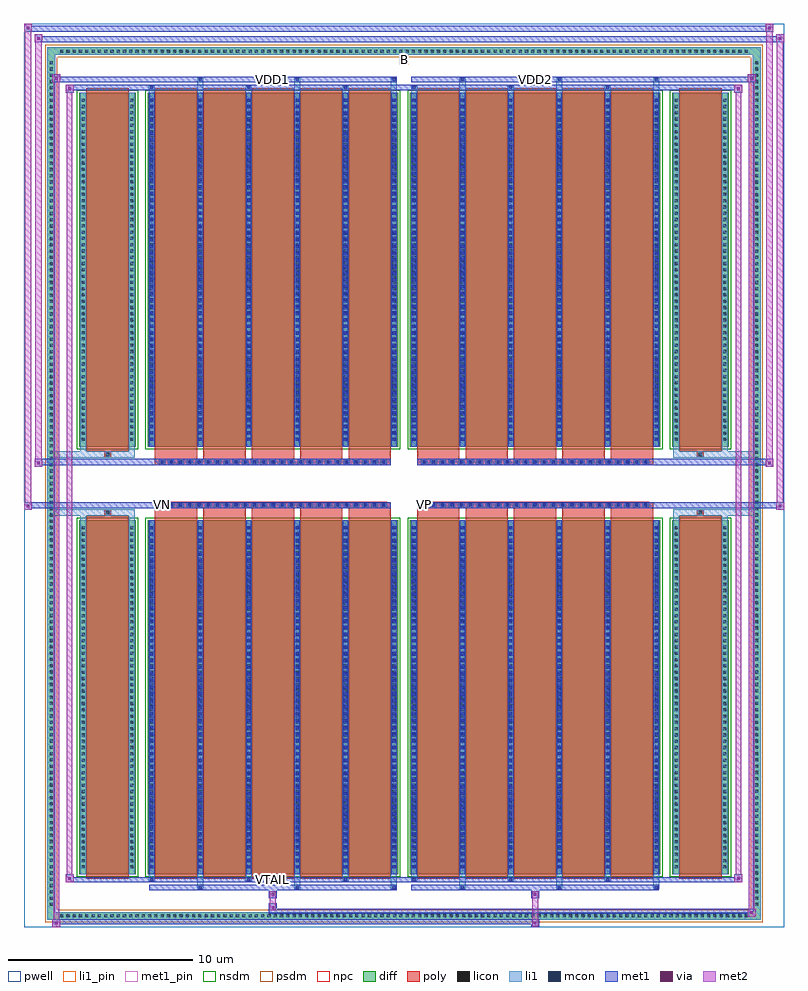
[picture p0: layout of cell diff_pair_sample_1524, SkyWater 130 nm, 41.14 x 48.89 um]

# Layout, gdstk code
import gdstk
lib = gdstk.Library(unit=1e-6, precision=5e-09)
def R(c, l, rs):  # rectangles x0, y0, x1, y1
    for r in rs: c.add(gdstk.rectangle(r[:2], r[2:], *l))
def A(c, l, x, y, w, h, nx, ny, dx, dy):  # array of equal rectangles
    R(c, l, [(x+i*dx, y+j*dy, x+i*dx+w, y+j*dy+h) for i in range(nx) for j in range(ny)])
def P(c, l, *ps):  # polygons
    for p in ps: c.add(gdstk.Polygon(p, *l))
pwell = (64, 44)
diff = (65, 20)
poly = (66, 20)
licon = (66, 44)
li1_pin = (67, 16)
li1 = (67, 20)
mcon = (67, 44)
met1_pin = (68, 16)
met1 = (68, 20)
via = (68, 44)
met2 = (69, 20)
nsdm = (93, 44)
psdm = (94, 20)
npc = (95, 20)

diff_pair_sample_1524 = lib.new_cell('diff_pair_sample_1524')
R(diff_pair_sample_1524, pwell, [(-20.57,-24.01,20.57,24.88), (-17.89,-22.2,-0.01,-0.8), (0.01,-22.2,17.89,-0.8), (-17.89,0.8,-0.01,22.2), (0.01,0.8,17.89,22.2)])
A(diff_pair_sample_1524, diff, -18.735, -23.61, 0.41, 0.41, 110, 2, 0.34, 46.81)
A(diff_pair_sample_1524, diff, -19.3, -22.985, 0.41, 0.41, 1, 135, 0, 0.34)
A(diff_pair_sample_1524, diff, 18.89, -22.985, 0.41, 0.41, 1, 135, 0, 0.34)
R(diff_pair_sample_1524, diff, [(-18.735,-23.61,18.735,-23.2), (-19.3,-22.985,-18.89,22.985), (18.89,-22.985,19.3,22.985), (-17.58,-21.155,-14.51,-1.985), (-13.87,-21.155,-0.32,-1.985), (0.32,-21.155,13.87,-1.985), (14.51,-21.155,17.58,-1.985), (-17.58,1.985,-14.51,21.155), (-13.87,1.985,-0.32,21.155), (0.32,1.985,13.87,21.155), (14.51,1.985,17.58,21.155), (-18.735,23.2,18.735,23.61)])
P(diff_pair_sample_1524, diff, [(19.3,23.61),(-19.3,23.61),(-19.3,-23.2),(-18.89,-23.2),(-18.89,23.2),(18.89,23.2),(18.89,-23.2),(-18.89,-23.2),(-19.3,-23.2),(-19.3,-23.61),(19.3,-23.61)])
A(diff_pair_sample_1524, poly, -13.48, -21.405, 2.29, 19.67, 5, 2, 2.62, 23.14)
A(diff_pair_sample_1524, poly, 0.71, -21.405, 2.29, 19.67, 5, 2, 2.62, 23.14)
A(diff_pair_sample_1524, poly, -13.48, -1.735, 2.29, 0.405, 5, 2, 2.62, 3.065)
A(diff_pair_sample_1524, poly, 0.71, -1.735, 2.29, 0.405, 5, 2, 2.62, 3.065)
A(diff_pair_sample_1524, poly, -13.26, -1.33, 0.33, 0.33, 25, 2, 0.5, 2.33)
A(diff_pair_sample_1524, poly, 0.93, -1.33, 0.33, 0.33, 25, 2, 0.5, 2.33)
R(diff_pair_sample_1524, poly, [(-17.19,-21.405,-14.9,-1.735), (14.9,-21.405,17.19,-1.735), (-16.21,-1.735,-15.88,-1.405), (-16.21,-1.735,-15.88,-1.405), (15.88,-1.735,16.21,-1.405), (15.88,-1.735,16.21,-1.405), (-13.48,-1.33,-0.71,-1), (0.71,-1.33,13.48,-1), (-13.48,1,-0.71,1.33), (0.71,1,13.48,1.33), (-16.21,1.405,-15.88,1.735), (-16.21,1.405,-15.88,1.735), (15.88,1.405,16.21,1.735), (15.88,1.405,16.21,1.735), (-17.19,1.735,-14.9,21.405), (14.9,1.735,17.19,21.405)])
A(diff_pair_sample_1524, licon, -18.615, -23.49, 0.17, 0.17, 110, 2, 0.34, 46.81)
A(diff_pair_sample_1524, licon, -19.18, -22.865, 0.17, 0.17, 1, 135, 0, 0.34)
A(diff_pair_sample_1524, licon, 19.01, -22.865, 0.17, 0.17, 1, 135, 0, 0.34)
A(diff_pair_sample_1524, licon, -17.44, -20.835, 0.17, 0.17, 1, 55, 0, 0.34)
A(diff_pair_sample_1524, licon, -14.82, -20.835, 0.17, 0.17, 1, 55, 0, 0.34)
A(diff_pair_sample_1524, licon, -13.73, -20.835, 0.17, 0.17, 6, 55, 2.62, 0.34)
A(diff_pair_sample_1524, licon, 0.46, -20.835, 0.17, 0.17, 6, 55, 2.62, 0.34)
A(diff_pair_sample_1524, licon, 14.65, -20.835, 0.17, 0.17, 1, 55, 0, 0.34)
A(diff_pair_sample_1524, licon, 17.27, -20.835, 0.17, 0.17, 1, 55, 0, 0.34)
A(diff_pair_sample_1524, licon, -13.18, -1.25, 0.17, 0.17, 25, 2, 0.5, 2.33)
A(diff_pair_sample_1524, licon, 1.01, -1.25, 0.17, 0.17, 25, 2, 0.5, 2.33)
A(diff_pair_sample_1524, licon, -17.44, 2.305, 0.17, 0.17, 1, 55, 0, 0.34)
A(diff_pair_sample_1524, licon, -14.82, 2.305, 0.17, 0.17, 1, 55, 0, 0.34)
A(diff_pair_sample_1524, licon, -13.73, 2.305, 0.17, 0.17, 6, 55, 2.62, 0.34)
A(diff_pair_sample_1524, licon, 0.46, 2.305, 0.17, 0.17, 6, 55, 2.62, 0.34)
A(diff_pair_sample_1524, licon, 14.65, 2.305, 0.17, 0.17, 1, 55, 0, 0.34)
A(diff_pair_sample_1524, licon, 17.27, 2.305, 0.17, 0.17, 1, 55, 0, 0.34)
R(diff_pair_sample_1524, licon, [(-16.13,-1.655,-15.96,-1.485), (15.96,-1.655,16.13,-1.485), (-16.13,1.485,-15.96,1.655), (15.96,1.485,16.13,1.655)])
R(diff_pair_sample_1524, li1_pin, [(-0.25,22.7,0.25,23.2)])
A(diff_pair_sample_1524, li1, -18.695, -23.57, 0.33, 0.33, 110, 2, 0.34, 46.81)
A(diff_pair_sample_1524, li1, -19.26, -22.945, 0.33, 0.33, 1, 135, 0, 0.34)
A(diff_pair_sample_1524, li1, 18.93, -22.945, 0.33, 0.33, 1, 135, 0, 0.34)
A(diff_pair_sample_1524, li1, -11.19, -21.96, 0.33, 0.805, 3, 2, 5.24, 43.115)
A(diff_pair_sample_1524, li1, -11.11, -21.96, 0.17, 0.17, 3, 2, 5.24, 43.75)
A(diff_pair_sample_1524, li1, 3, -21.96, 0.33, 0.805, 3, 2, 5.24, 43.115)
A(diff_pair_sample_1524, li1, 3.08, -21.96, 0.17, 0.17, 3, 2, 5.24, 43.75)
A(diff_pair_sample_1524, li1, -13.81, -21.53, 0.33, 0.375, 3, 2, 5.24, 42.685)
A(diff_pair_sample_1524, li1, -13.73, -21.53, 0.17, 0.17, 3, 2, 5.24, 42.89)
A(diff_pair_sample_1524, li1, 0.38, -21.53, 0.33, 0.375, 3, 2, 5.24, 42.685)
A(diff_pair_sample_1524, li1, 0.46, -21.53, 0.17, 0.17, 3, 2, 5.24, 42.89)
A(diff_pair_sample_1524, li1, -13.81, -21.155, 0.33, 19.17, 6, 2, 2.62, 23.14)
A(diff_pair_sample_1524, li1, 0.38, -21.155, 0.33, 19.17, 6, 2, 2.62, 23.14)
A(diff_pair_sample_1524, li1, -17.52, -20.915, 0.33, 0.33, 1, 55, 0, 0.34)
A(diff_pair_sample_1524, li1, -14.9, -20.915, 0.33, 0.33, 1, 55, 0, 0.34)
A(diff_pair_sample_1524, li1, -13.81, -20.915, 0.33, 0.33, 6, 55, 2.62, 0.34)
A(diff_pair_sample_1524, li1, 0.38, -20.915, 0.33, 0.33, 6, 55, 2.62, 0.34)
A(diff_pair_sample_1524, li1, 14.57, -20.915, 0.33, 0.33, 1, 55, 0, 0.34)
A(diff_pair_sample_1524, li1, 17.19, -20.915, 0.33, 0.33, 1, 55, 0, 0.34)
A(diff_pair_sample_1524, li1, -13.73, -20.835, 0.17, 0.17, 6, 52, 2.62, 0.36)
A(diff_pair_sample_1524, li1, -13.73, -20.835, 0.17, 18.53, 6, 2, 2.62, 23.14)
A(diff_pair_sample_1524, li1, 0.46, -20.835, 0.17, 0.17, 6, 52, 2.62, 0.36)
A(diff_pair_sample_1524, li1, 0.46, -20.835, 0.17, 18.53, 6, 2, 2.62, 23.14)
A(diff_pair_sample_1524, li1, -13.26, -1.33, 0.33, 0.33, 25, 2, 0.5, 2.33)
A(diff_pair_sample_1524, li1, 0.93, -1.33, 0.33, 0.33, 25, 2, 0.5, 2.33)
A(diff_pair_sample_1524, li1, -17.52, 2.225, 0.33, 0.33, 1, 55, 0, 0.34)
A(diff_pair_sample_1524, li1, -14.9, 2.225, 0.33, 0.33, 1, 55, 0, 0.34)
A(diff_pair_sample_1524, li1, -13.81, 2.225, 0.33, 0.33, 6, 55, 2.62, 0.34)
A(diff_pair_sample_1524, li1, 0.38, 2.225, 0.33, 0.33, 6, 55, 2.62, 0.34)
A(diff_pair_sample_1524, li1, 14.57, 2.225, 0.33, 0.33, 1, 55, 0, 0.34)
A(diff_pair_sample_1524, li1, 17.19, 2.225, 0.33, 0.33, 1, 55, 0, 0.34)
A(diff_pair_sample_1524, li1, -13.73, 2.305, 0.17, 0.17, 6, 52, 2.62, 0.36)
A(diff_pair_sample_1524, li1, 0.46, 2.305, 0.17, 0.17, 6, 52, 2.62, 0.36)
R(diff_pair_sample_1524, li1, [(-19.3,-23.61,-18.89,-23.2), (-19.3,-23.61,-18.89,-23.2), (-18.89,-23.61,18.89,-23.2), (18.89,-23.61,19.3,-23.2), (18.89,-23.61,19.3,-23.2), (-19.3,-23.2,-18.89,23.2), (18.89,-23.2,19.3,23.2), (-17.52,-21.155,-17.19,-1.985), (-14.9,-21.155,-14.57,-1.985), (14.57,-21.155,14.9,-1.985), (17.19,-21.155,17.52,-1.985), (-17.52,-1.985,-17.19,-1.405), (-14.9,-1.985,-14.57,-1.405), (14.57,-1.985,14.9,-1.405), (17.19,-1.985,17.52,-1.405), (-19.3,-1.735,-16.21,-1.405), (-17.52,-1.735,-16.21,-1.405), (-16.21,-1.735,-15.88,-1.405), (-15.88,-1.735,-14.57,-1.405), (14.57,-1.735,15.88,-1.405), (15.88,-1.735,16.21,-1.405), (15.88,-1.735,19.3,-1.405), (16.21,-1.735,17.52,-1.405), (-19.3,1.405,-16.21,1.735), (-17.52,1.405,-16.21,1.735), (-17.52,1.405,-17.19,1.985), (-16.21,1.405,-15.88,1.735), (-15.88,1.405,-14.57,1.735), (-14.9,1.405,-14.57,1.985), (14.57,1.405,15.88,1.735), (14.57,1.405,14.9,1.985), (15.88,1.405,16.21,1.735), (15.88,1.405,19.3,1.735), (16.21,1.405,17.52,1.735), (17.19,1.405,17.52,1.985), (-17.52,1.985,-17.19,21.155), (-14.9,1.985,-14.57,21.155), (14.57,1.985,14.9,21.155), (17.19,1.985,17.52,21.155), (-19.3,23.2,-18.89,23.61), (-19.3,23.2,-18.89,23.61), (-18.89,23.2,18.89,23.61), (18.89,23.2,19.3,23.61), (18.89,23.2,19.3,23.61)])
A(diff_pair_sample_1524, mcon, -11.11, -21.96, 0.17, 0.17, 3, 2, 5.24, 43.75)
A(diff_pair_sample_1524, mcon, 3.08, -21.96, 0.17, 0.17, 3, 2, 5.24, 43.75)
A(diff_pair_sample_1524, mcon, -13.73, -21.53, 0.17, 0.17, 3, 2, 5.24, 42.89)
A(diff_pair_sample_1524, mcon, 0.46, -21.53, 0.17, 0.17, 3, 2, 5.24, 42.89)
A(diff_pair_sample_1524, mcon, -13.73, -20.835, 0.17, 0.17, 6, 52, 2.62, 0.36)
A(diff_pair_sample_1524, mcon, 0.46, -20.835, 0.17, 0.17, 6, 52, 2.62, 0.36)
A(diff_pair_sample_1524, mcon, -13.18, -1.25, 0.17, 0.17, 25, 2, 0.5, 2.33)
A(diff_pair_sample_1524, mcon, 1.01, -1.25, 0.17, 0.17, 25, 2, 0.5, 2.33)
A(diff_pair_sample_1524, mcon, -13.73, 2.305, 0.17, 0.17, 6, 52, 2.62, 0.36)
A(diff_pair_sample_1524, mcon, 0.46, 2.305, 0.17, 0.17, 6, 52, 2.62, 0.36)
R(diff_pair_sample_1524, met1_pin, [(-7.23,-21.57,-6.96,-21.3), (-13.23,-1.29,-12.96,-1.02), (0.96,-1.29,1.23,-1.02), (-7.23,21.75,-6.96,22.02), (6.96,21.75,7.23,22.02)])
A(diff_pair_sample_1524, met1, -11.17, -22.02, 0.29, 0.29, 3, 2, 5.24, 43.75)
A(diff_pair_sample_1524, met1, 3.02, -22.02, 0.29, 0.29, 3, 2, 5.24, 43.75)
A(diff_pair_sample_1524, met1, -13.79, -21.59, 0.29, 0.29, 3, 2, 5.24, 42.89)
A(diff_pair_sample_1524, met1, 0.4, -21.59, 0.29, 0.29, 3, 2, 5.24, 42.89)
A(diff_pair_sample_1524, met1, -13.79, -21.155, 0.29, 19.17, 6, 2, 2.62, 23.14)
A(diff_pair_sample_1524, met1, 0.4, -21.155, 0.29, 19.17, 6, 2, 2.62, 23.14)
A(diff_pair_sample_1524, met1, -13.79, -20.895, 0.29, 0.29, 6, 52, 2.62, 0.36)
A(diff_pair_sample_1524, met1, 0.4, -20.895, 0.29, 0.29, 6, 52, 2.62, 0.36)
A(diff_pair_sample_1524, met1, -13.24, -1.31, 0.29, 0.29, 25, 2, 0.5, 2.33)
A(diff_pair_sample_1524, met1, 0.95, -1.31, 0.29, 0.29, 25, 2, 0.5, 2.33)
A(diff_pair_sample_1524, met1, -13.79, 2.245, 0.29, 0.29, 6, 52, 2.62, 0.36)
A(diff_pair_sample_1524, met1, 0.4, 2.245, 0.29, 0.29, 6, 52, 2.62, 0.36)
R(diff_pair_sample_1524, met1, [(-19.03,-24.01,-18.6,-23.58), (6.88,-24.01,7.31,-23.58), (-19.03,-23.87,7.31,-23.58), (18.6,-23.44,19.03,-23.01), (-7.31,-23.3,19.03,-23.01), (-7.31,-23.16,-6.88,-22.73), (-7.31,-22.45,-6.88,-22.02), (6.88,-22.45,7.31,-22.02), (-13.79,-22.02,-0.4,-21.73), (0.4,-22.02,13.79,-21.73), (-18.32,-21.59,-17.89,-21.16), (-18.32,-21.59,-13.79,-21.3), (-13.79,-21.59,-0.4,-21.3), (-0.4,-21.59,0.4,-21.3), (0.4,-21.59,13.79,-21.3), (13.79,-21.59,18.32,-21.3), (17.89,-21.59,18.32,-21.16), (-20.57,-1.43,-20.14,-1), (20.14,-1.43,20.57,-1), (-20.57,-1.33,-0.71,-1), (-13.48,-1.33,-0.71,-1), (0.71,-1.33,13.48,-1), (0.71,-1.33,20.57,-1), (-20,0.9,-19.57,1.33), (19.57,0.9,20,1.33), (-20,1,-13.48,1.33), (-13.48,1,-0.71,1.33), (0.71,1,13.48,1.33), (13.48,1,20,1.33), (-18.32,21.16,-17.89,21.59), (17.89,21.16,18.32,21.59), (-18.32,21.3,-13.79,21.59), (-13.79,21.3,-0.4,21.59), (-0.4,21.3,0.4,21.59), (0.4,21.3,13.79,21.59), (13.79,21.3,18.32,21.59), (-19.03,21.73,-18.6,22.16), (-19.03,21.73,-13.79,22.02), (-13.79,21.73,-0.4,22.02), (0.4,21.73,13.79,22.02), (13.79,21.73,19.03,22.02), (18.6,21.73,19.03,22.16), (-20,23.88,-19.57,24.31), (-20,23.88,-17.89,24.21), (-17.89,23.88,17.89,24.21), (17.89,23.88,20.57,24.21), (20.14,23.88,20.57,24.31), (-20.57,24.45,-20.14,24.88), (-20.57,24.45,-17.89,24.78), (-17.89,24.45,17.89,24.78), (17.89,24.45,20,24.78), (19.57,24.45,20,24.88)])
R(diff_pair_sample_1524, via, [(-18.89,-23.87,-18.74,-23.72), (7.02,-23.87,7.17,-23.72), (18.74,-23.3,18.89,-23.15), (-7.17,-23.02,-7.02,-22.87), (-7.17,-22.31,-7.02,-22.16), (7.02,-22.31,7.17,-22.16), (-18.18,-21.45,-18.03,-21.3), (18.03,-21.45,18.18,-21.3), (-20.43,-1.29,-20.28,-1.14), (20.28,-1.29,20.43,-1.14), (-19.86,1.04,-19.71,1.19), (19.71,1.04,19.86,1.19), (-18.18,21.3,-18.03,21.45), (18.03,21.3,18.18,21.45), (-18.89,21.87,-18.74,22.02), (18.74,21.87,18.89,22.02), (-19.86,24.02,-19.71,24.17), (20.28,24.02,20.43,24.17), (-20.43,24.59,-20.28,24.74), (19.71,24.59,19.86,24.74)])
R(diff_pair_sample_1524, met2, [(-19.03,-24.01,-18.6,-23.58), (-18.96,-24.01,-18.67,22.16), (-18.67,-24.01,-18.6,-23.58), (-18.98,-23.96,-18.65,-23.63), (6.93,-23.96,7.26,-23.63), (6.93,-23.63,7.26,-22.4), (18.6,-23.44,19.03,-23.01), (18.67,-23.44,18.96,22.16), (18.96,-23.44,19.03,-23.01), (18.65,-23.39,18.98,-23.06), (-7.26,-23.11,-6.93,-22.78), (-7.26,-22.78,-6.93,-22.4), (-7.26,-22.4,-6.93,-22.07), (6.93,-22.4,7.26,-22.07), (-18.32,-21.59,-17.89,-21.16), (-18.25,-21.59,-17.96,21.59), (-17.96,-21.59,-17.89,-21.16), (17.89,-21.59,18.32,-21.16), (17.96,-21.59,18.25,21.59), (18.25,-21.59,18.32,-21.16), (-18.27,-21.54,-17.94,-21.21), (17.94,-21.54,18.27,-21.21), (-20.57,-1.43,-20.14,-1), (-20.52,-1.43,-20.19,24.88), (-20.19,-1.43,-20.14,-1), (20.14,-1.43,20.57,-1), (20.19,-1.43,20.52,24.31), (20.52,-1.43,20.57,-1), (-20.52,-1.38,-20.19,-1.05), (20.19,-1.38,20.52,-1.05), (-20,0.9,-19.57,1.33), (-19.95,0.9,-19.62,24.31), (-19.62,0.9,-19.57,1.33), (19.57,0.9,20,1.33), (19.62,0.9,19.95,24.88), (19.95,0.9,20,1.33), (-19.95,0.95,-19.62,1.28), (19.62,0.95,19.95,1.28), (-18.32,21.16,-17.89,21.59), (-17.96,21.16,-17.89,21.59), (17.89,21.16,18.32,21.59), (18.25,21.16,18.32,21.59), (-18.27,21.21,-17.94,21.54), (17.94,21.21,18.27,21.54), (-19.03,21.73,-18.6,22.16), (-18.67,21.73,-18.6,22.16), (18.6,21.73,19.03,22.16), (18.96,21.73,19.03,22.16), (-18.98,21.78,-18.65,22.11), (18.65,21.78,18.98,22.11), (-20,23.88,-19.57,24.31), (-19.62,23.88,-19.57,24.31), (20.14,23.88,20.57,24.31), (20.52,23.88,20.57,24.31), (-19.95,23.93,-19.62,24.26), (20.19,23.93,20.52,24.26), (-20.57,24.45,-20.14,24.88), (-20.19,24.45,-20.14,24.88), (19.57,24.45,20,24.88), (19.95,24.45,20,24.88), (-20.52,24.5,-20.19,24.83), (19.62,24.5,19.95,24.83)])
R(diff_pair_sample_1524, nsdm, [(-17.71,-21.285,-14.38,-1.855), (-14,-21.285,-0.19,-1.855), (0.19,-21.285,14,-1.855), (14.38,-21.285,17.71,-1.855), (-17.71,1.855,-14.38,21.285), (-14,1.855,-0.19,21.285), (0.19,1.855,14,21.285), (14.38,1.855,17.71,21.285)])
P(diff_pair_sample_1524, psdm, [(19.43,23.74),(-19.43,23.74),(-19.43,-23.07),(-18.76,-23.07),(-18.76,23.07),(18.76,23.07),(18.76,-23.07),(-18.76,-23.07),(-19.43,-23.07),(-19.43,-23.74),(19.43,-23.74)])
A(diff_pair_sample_1524, npc, -13.28, -1.35, 0.37, 0.37, 25, 2, 0.5, 2.33)
A(diff_pair_sample_1524, npc, 0.91, -1.35, 0.37, 0.37, 25, 2, 0.5, 2.33)
R(diff_pair_sample_1524, npc, [(-16.23,-1.755,-15.86,-1.385), (15.86,-1.755,16.23,-1.385), (-13.28,-1.35,-12.41,-0.98), (-13.28,-1.35,-12.41,-0.98), (-12.78,-1.35,-11.91,-0.98), (-12.78,-1.35,-11.91,-0.98), (-12.28,-1.35,-11.41,-0.98), (-12.28,-1.35,-11.41,-0.98), (-11.78,-1.35,-10.91,-0.98), (-11.78,-1.35,-10.91,-0.98), (-11.28,-1.35,-10.41,-0.98), (-11.28,-1.35,-10.41,-0.98), (-10.78,-1.35,-9.91,-0.98), (-10.78,-1.35,-9.91,-0.98), (-10.28,-1.35,-9.41,-0.98), (-10.28,-1.35,-9.41,-0.98), (-9.78,-1.35,-8.91,-0.98), (-9.78,-1.35,-8.91,-0.98), (-9.28,-1.35,-8.41,-0.98), (-9.28,-1.35,-8.41,-0.98), (-8.78,-1.35,-7.91,-0.98), (-8.78,-1.35,-7.91,-0.98), (-8.28,-1.35,-7.41,-0.98), (-8.28,-1.35,-7.41,-0.98), (-7.78,-1.35,-6.91,-0.98), (-7.78,-1.35,-6.91,-0.98), (-7.28,-1.35,-6.41,-0.98), (-7.28,-1.35,-6.41,-0.98), (-6.78,-1.35,-5.91,-0.98), (-6.78,-1.35,-5.91,-0.98), (-6.28,-1.35,-5.41,-0.98), (-6.28,-1.35,-5.41,-0.98), (-5.78,-1.35,-4.91,-0.98), (-5.78,-1.35,-4.91,-0.98), (-5.28,-1.35,-4.41,-0.98), (-5.28,-1.35,-4.41,-0.98), (-4.78,-1.35,-3.91,-0.98), (-4.78,-1.35,-3.91,-0.98), (-4.28,-1.35,-3.41,-0.98), (-4.28,-1.35,-3.41,-0.98), (-3.78,-1.35,-2.91,-0.98), (-3.78,-1.35,-2.91,-0.98), (-3.28,-1.35,-2.41,-0.98), (-3.28,-1.35,-2.41,-0.98), (-2.78,-1.35,-1.91,-0.98), (-2.78,-1.35,-1.91,-0.98), (-2.28,-1.35,-1.41,-0.98), (-2.28,-1.35,-1.41,-0.98), (-1.78,-1.35,-0.91,-0.98), (-1.78,-1.35,-0.91,-0.98), (0.91,-1.35,1.78,-0.98), (0.91,-1.35,1.78,-0.98), (1.41,-1.35,2.28,-0.98), (1.41,-1.35,2.28,-0.98), (1.91,-1.35,2.78,-0.98), (1.91,-1.35,2.78,-0.98), (2.41,-1.35,3.28,-0.98), (2.41,-1.35,3.28,-0.98), (2.91,-1.35,3.78,-0.98), (2.91,-1.35,3.78,-0.98), (3.41,-1.35,4.28,-0.98), (3.41,-1.35,4.28,-0.98), (3.91,-1.35,4.78,-0.98), (3.91,-1.35,4.78,-0.98), (4.41,-1.35,5.28,-0.98), (4.41,-1.35,5.28,-0.98), (4.91,-1.35,5.78,-0.98), (4.91,-1.35,5.78,-0.98), (5.41,-1.35,6.28,-0.98), (5.41,-1.35,6.28,-0.98), (5.91,-1.35,6.78,-0.98), (5.91,-1.35,6.78,-0.98), (6.41,-1.35,7.28,-0.98), (6.41,-1.35,7.28,-0.98), (6.91,-1.35,7.78,-0.98), (6.91,-1.35,7.78,-0.98), (7.41,-1.35,8.28,-0.98), (7.41,-1.35,8.28,-0.98), (7.91,-1.35,8.78,-0.98), (7.91,-1.35,8.78,-0.98), (8.41,-1.35,9.28,-0.98), (8.41,-1.35,9.28,-0.98), (8.91,-1.35,9.78,-0.98), (8.91,-1.35,9.78,-0.98), (9.41,-1.35,10.28,-0.98), (9.41,-1.35,10.28,-0.98), (9.91,-1.35,10.78,-0.98), (9.91,-1.35,10.78,-0.98), (10.41,-1.35,11.28,-0.98), (10.41,-1.35,11.28,-0.98), (10.91,-1.35,11.78,-0.98), (10.91,-1.35,11.78,-0.98), (11.41,-1.35,12.28,-0.98), (11.41,-1.35,12.28,-0.98), (11.91,-1.35,12.78,-0.98), (11.91,-1.35,12.78,-0.98), (12.41,-1.35,13.28,-0.98), (12.41,-1.35,13.28,-0.98), (-13.28,0.98,-12.41,1.35), (-13.28,0.98,-12.41,1.35), (-12.78,0.98,-11.91,1.35), (-12.78,0.98,-11.91,1.35), (-12.28,0.98,-11.41,1.35), (-12.28,0.98,-11.41,1.35), (-11.78,0.98,-10.91,1.35), (-11.78,0.98,-10.91,1.35), (-11.28,0.98,-10.41,1.35), (-11.28,0.98,-10.41,1.35), (-10.78,0.98,-9.91,1.35), (-10.78,0.98,-9.91,1.35), (-10.28,0.98,-9.41,1.35), (-10.28,0.98,-9.41,1.35), (-9.78,0.98,-8.91,1.35), (-9.78,0.98,-8.91,1.35), (-9.28,0.98,-8.41,1.35), (-9.28,0.98,-8.41,1.35), (-8.78,0.98,-7.91,1.35), (-8.78,0.98,-7.91,1.35), (-8.28,0.98,-7.41,1.35), (-8.28,0.98,-7.41,1.35), (-7.78,0.98,-6.91,1.35), (-7.78,0.98,-6.91,1.35), (-7.28,0.98,-6.41,1.35), (-7.28,0.98,-6.41,1.35), (-6.78,0.98,-5.91,1.35), (-6.78,0.98,-5.91,1.35), (-6.28,0.98,-5.41,1.35), (-6.28,0.98,-5.41,1.35), (-5.78,0.98,-4.91,1.35), (-5.78,0.98,-4.91,1.35), (-5.28,0.98,-4.41,1.35), (-5.28,0.98,-4.41,1.35), (-4.78,0.98,-3.91,1.35), (-4.78,0.98,-3.91,1.35), (-4.28,0.98,-3.41,1.35), (-4.28,0.98,-3.41,1.35), (-3.78,0.98,-2.91,1.35), (-3.78,0.98,-2.91,1.35), (-3.28,0.98,-2.41,1.35), (-3.28,0.98,-2.41,1.35), (-2.78,0.98,-1.91,1.35), (-2.78,0.98,-1.91,1.35), (-2.28,0.98,-1.41,1.35), (-2.28,0.98,-1.41,1.35), (-1.78,0.98,-0.91,1.35), (-1.78,0.98,-0.91,1.35), (0.91,0.98,1.78,1.35), (0.91,0.98,1.78,1.35), (1.41,0.98,2.28,1.35), (1.41,0.98,2.28,1.35), (1.91,0.98,2.78,1.35), (1.91,0.98,2.78,1.35), (2.41,0.98,3.28,1.35), (2.41,0.98,3.28,1.35), (2.91,0.98,3.78,1.35), (2.91,0.98,3.78,1.35), (3.41,0.98,4.28,1.35), (3.41,0.98,4.28,1.35), (3.91,0.98,4.78,1.35), (3.91,0.98,4.78,1.35), (4.41,0.98,5.28,1.35), (4.41,0.98,5.28,1.35), (4.91,0.98,5.78,1.35), (4.91,0.98,5.78,1.35), (5.41,0.98,6.28,1.35), (5.41,0.98,6.28,1.35), (5.91,0.98,6.78,1.35), (5.91,0.98,6.78,1.35), (6.41,0.98,7.28,1.35), (6.41,0.98,7.28,1.35), (6.91,0.98,7.78,1.35), (6.91,0.98,7.78,1.35), (7.41,0.98,8.28,1.35), (7.41,0.98,8.28,1.35), (7.91,0.98,8.78,1.35), (7.91,0.98,8.78,1.35), (8.41,0.98,9.28,1.35), (8.41,0.98,9.28,1.35), (8.91,0.98,9.78,1.35), (8.91,0.98,9.78,1.35), (9.41,0.98,10.28,1.35), (9.41,0.98,10.28,1.35), (9.91,0.98,10.78,1.35), (9.91,0.98,10.78,1.35), (10.41,0.98,11.28,1.35), (10.41,0.98,11.28,1.35), (10.91,0.98,11.78,1.35), (10.91,0.98,11.78,1.35), (11.41,0.98,12.28,1.35), (11.41,0.98,12.28,1.35), (11.91,0.98,12.78,1.35), (11.91,0.98,12.78,1.35), (12.41,0.98,13.28,1.35), (12.41,0.98,13.28,1.35), (-16.23,1.385,-15.86,1.755), (15.86,1.385,16.23,1.755)])
diff_pair_sample_1524.add(gdstk.Label('VTAIL', (-7.095,-21.435), layer=68, texttype=5))
diff_pair_sample_1524.add(gdstk.Label('VN', (-13.095,-1.155), layer=68, texttype=5))
diff_pair_sample_1524.add(gdstk.Label('VP', (1.095,-1.155), layer=68, texttype=5))
diff_pair_sample_1524.add(gdstk.Label('B', (0,22.95), layer=67, texttype=5))
diff_pair_sample_1524.add(gdstk.Label('VDD2', (7.095,21.885), layer=68, texttype=5))
diff_pair_sample_1524.add(gdstk.Label('VDD1', (-7.095,21.885), layer=68, texttype=5))

lib.write_gds('diff_pair_sample_1524.gds')
